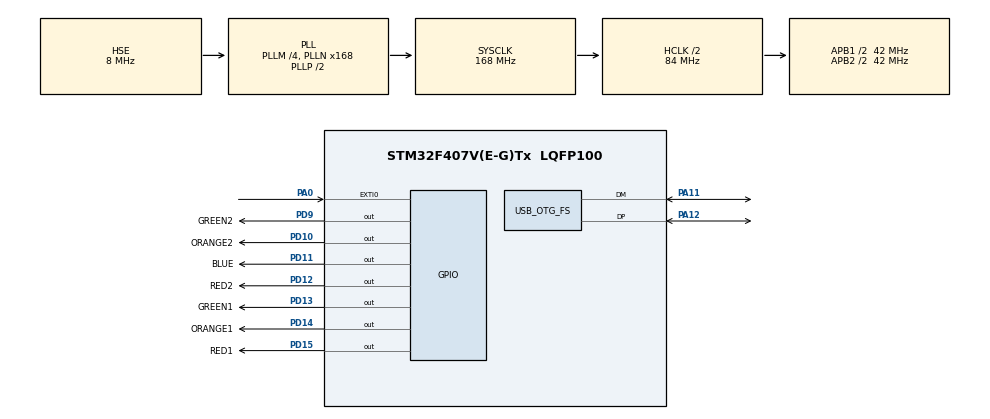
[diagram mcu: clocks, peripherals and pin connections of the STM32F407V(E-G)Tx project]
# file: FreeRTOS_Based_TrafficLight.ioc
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FREERTOS.BinarySemaphores01=myBinarySem01,Dynamic,NULL,Available;myBinarySem02,Dynamic,NULL,Available;myBinarySem03,Dynamic,NULL,Available
FREERTOS.Tasks01=TrafficLight1,0,128,StartTrafficLight1,Default,NULL,Dynamic,NULL,NULL;TrafficLight2,0,128,StartTrafficLight2,Default,NULL,Dynamic,NULL,NULL;pedestrianTask,1,128,StartpedestrianTask,Default,NULL,Dynamic,NULL,NULL
FREERTOS.configUSE_NEWLIB_REENTRANT=1
Mcu.Family=STM32F4
Mcu.Name=STM32F407V(E-G)Tx
Mcu.Package=LQFP100
NVIC.EXTI0_IRQn=true\:5\:0\:false\:false\:true\:true\:true\:true\:true
NVIC.OTG_FS_IRQn=true\:5\:0\:false\:false\:true\:true\:false\:true\:true
NVIC.PriorityGroup=NVIC_PRIORITYGROUP_4
NVIC.TIM1_UP_TIM10_IRQn=true\:15\:0\:false\:false\:true\:false\:false\:true\:true
NVIC.TimeBase=TIM1_UP_TIM10_IRQn
NVIC.TimeBaseIP=TIM1
PA0-WKUP.GPIO_PuPd=GPIO_PULLDOWN
PA0-WKUP.Signal=GPXTI0
PA11.Mode=Device_Only
PA11.Signal=USB_OTG_FS_DM
PA12.Mode=Device_Only
PA12.Signal=USB_OTG_FS_DP
PA13.Mode=Serial_Wire
PA13.Signal=SYS_JTMS-SWDIO
PA14.Mode=Serial_Wire
PA14.Signal=SYS_JTCK-SWCLK
PD10.GPIO_Label=ORANGE2
PD10.Signal=GPIO_Output
PD11.GPIO_Label=BLUE
PD11.Signal=GPIO_Output
PD12.GPIO_Label=RED2
PD12.Signal=GPIO_Output
PD13.GPIO_Label=GREEN1
PD13.Signal=GPIO_Output
PD14.GPIO_Label=ORANGE1
PD14.Signal=GPIO_Output
PD15.GPIO_Label=RED1
PD15.Signal=GPIO_Output
PD9.GPIO_Label=GREEN2
PD9.Signal=GPIO_Output
PH0-OSC_IN.Mode=HSE-External-Oscillator
PH0-OSC_IN.Signal=RCC_OSC_IN
PH1-OSC_OUT.Mode=HSE-External-Oscillator
PH1-OSC_OUT.Signal=RCC_OSC_OUT
ProjectManager.HeapSize=0x200
ProjectManager.StackSize=0x400
ProjectManager.TargetToolchain=STM32CubeIDE
RCC.48MHZClocksFreq_Value=48000000
RCC.AHBCLKDivider=RCC_SYSCLK_DIV2
RCC.AHBFreq_Value=84000000
RCC.APB1CLKDivider=RCC_HCLK_DIV2
RCC.APB1Freq_Value=42000000
RCC.APB1TimFreq_Value=84000000
RCC.APB2CLKDivider=RCC_HCLK_DIV2
RCC.APB2Freq_Value=42000000
RCC.APB2TimFreq_Value=84000000
RCC.CortexFreq_Value=84000000
RCC.HCLKFreq_Value=84000000
RCC.HSE_VALUE=8000000
RCC.HSI_VALUE=16000000
RCC.LSE_VALUE=32768
RCC.PLLM=4
RCC.PLLN=168
RCC.PLLQ=7
RCC.SYSCLKFreq_VALUE=168000000
RCC.SYSCLKSource=RCC_SYSCLKSOURCE_PLLCLK
RCC.VCOOutputFreq_Value=336000000
USB_DEVICE.CLASS_NAME_FS=CDC
USB_DEVICE.VirtualMode-CDC_FS=Cdc
USB_DEVICE.VirtualModeFS=Cdc_FS
USB_OTG_FS.VirtualMode=Device_Only
VP_FREERTOS_VS_CMSIS_V1.Mode=CMSIS_V1
VP_SYS_VS_tim1.Mode=TIM1
VP_USB_DEVICE_VS_USB_DEVICE_CDC_FS.Mode=CDC_FS
board=custom

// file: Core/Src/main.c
/* USER CODE BEGIN Header */
/**
  ******************************************************************************
  * @file           : main.c
  * @brief          : Main program body
  ******************************************************************************
  * @attention
  *
  * Copyright (c) 2024 STMicroelectronics.
  * All rights reserved.
  *
  * This software is licensed under terms that can be found in the LICENSE file
  * in the root directory of this software component.
  * If no LICENSE file comes with this software, it is provided AS-IS.
  *
  ******************************************************************************
  */
/* USER CODE END Header */
#include "main.h"
#include "cmsis_os.h"
#include "usb_device.h"

/* USER CODE BEGIN Includes */

#include "usbd_conf.h"
#include "usbd_cdc_if.h"
#include "usbd_desc.h"
#include "string.h"
#include "stdint.h"

volatile uint8_t control = 0;

/* USER CODE END Includes */

osThreadId TrafficLight1Handle;
osThreadId TrafficLight2Handle;
osThreadId pedestrianTaskHandle;
osSemaphoreId myBinarySem01Handle;
osSemaphoreId myBinarySem02Handle;
osSemaphoreId myBinarySem03Handle;

void SystemClock_Config(void);
static void MX_GPIO_Init(void);
void StartTrafficLight1(void const * argument);
void StartTrafficLight2(void const * argument);
void StartpedestrianTask(void const * argument);

int main(void)
{

  /* MCU Configuration--------------------------------------------------------*/

  /* Reset of all peripherals, Initializes the Flash interface and the Systick. */
  HAL_Init();

  /* Configure the system clock */
  SystemClock_Config();

  /* Initialize all configured peripherals */
  MX_GPIO_Init();

  /* Create the semaphores(s) */
  /* definition and creation of myBinarySem01 */
  osSemaphoreDef(myBinarySem01);
  myBinarySem01Handle = osSemaphoreCreate(osSemaphore(myBinarySem01), 1);

  /* definition and creation of myBinarySem02 */
  osSemaphoreDef(myBinarySem02);
  myBinarySem02Handle = osSemaphoreCreate(osSemaphore(myBinarySem02), 1);

  /* definition and creation of myBinarySem03 */
  osSemaphoreDef(myBinarySem03);
  myBinarySem03Handle = osSemaphoreCreate(osSemaphore(myBinarySem03), 1);

  /* Create the thread(s) */
  /* definition and creation of TrafficLight1 */
  osThreadDef(TrafficLight1, StartTrafficLight1, osPriorityNormal, 0, 128);
  TrafficLight1Handle = osThreadCreate(osThread(TrafficLight1), NULL);

  /* definition and creation of TrafficLight2 */
  osThreadDef(TrafficLight2, StartTrafficLight2, osPriorityNormal, 0, 128);
  TrafficLight2Handle = osThreadCreate(osThread(TrafficLight2), NULL);

  /* definition and creation of pedestrianTask */
  osThreadDef(pedestrianTask, StartpedestrianTask, osPriorityAboveNormal, 0, 128);
  pedestrianTaskHandle = osThreadCreate(osThread(pedestrianTask), NULL);

  /* Start scheduler */
  osKernelStart();

  /* We should never get here as control is now taken by the scheduler */

  /* Infinite loop */
  while (1)
  {

  }
}

void SystemClock_Config(void)
{
  RCC_OscInitTypeDef RCC_OscInitStruct = {0};
  RCC_ClkInitTypeDef RCC_ClkInitStruct = {0};

  /** Configure the main internal regulator output voltage
  */
  __HAL_RCC_PWR_CLK_ENABLE();
  __HAL_PWR_VOLTAGESCALING_CONFIG(PWR_REGULATOR_VOLTAGE_SCALE1);

  /** Initializes the RCC Oscillators according to the specified parameters
  * in the RCC_OscInitTypeDef structure.
  */
  RCC_OscInitStruct.OscillatorType = RCC_OSCILLATORTYPE_HSE;
  RCC_OscInitStruct.HSEState = RCC_HSE_ON;
  RCC_OscInitStruct.PLL.PLLState = RCC_PLL_ON;
  RCC_OscInitStruct.PLL.PLLSource = RCC_PLLSOURCE_HSE;
  RCC_OscInitStruct.PLL.PLLM = 4;
  RCC_OscInitStruct.PLL.PLLN = 168;
  RCC_OscInitStruct.PLL.PLLP = RCC_PLLP_DIV2;
  RCC_OscInitStruct.PLL.PLLQ = 7;
  if (HAL_RCC_OscConfig(&RCC_OscInitStruct) != HAL_OK)
  {
    Error_Handler();
  }

  /** Initializes the CPU, AHB and APB buses clocks
  */
  RCC_ClkInitStruct.ClockType = RCC_CLOCKTYPE_HCLK|RCC_CLOCKTYPE_SYSCLK
                              |RCC_CLOCKTYPE_PCLK1|RCC_CLOCKTYPE_PCLK2;
  RCC_ClkInitStruct.SYSCLKSource = RCC_SYSCLKSOURCE_PLLCLK;
  RCC_ClkInitStruct.AHBCLKDivider = RCC_SYSCLK_DIV2;
  RCC_ClkInitStruct.APB1CLKDivider = RCC_HCLK_DIV2;
  RCC_ClkInitStruct.APB2CLKDivider = RCC_HCLK_DIV2;

  if (HAL_RCC_ClockConfig(&RCC_ClkInitStruct, FLASH_LATENCY_2) != HAL_OK)
  {
    Error_Handler();
  }
}

static void MX_GPIO_Init(void)
{
  GPIO_InitTypeDef GPIO_InitStruct = {0};

  /* GPIO Ports Clock Enable */
  __HAL_RCC_GPIOH_CLK_ENABLE();
  __HAL_RCC_GPIOA_CLK_ENABLE();
  __HAL_RCC_GPIOD_CLK_ENABLE();

  /*Configure GPIO pin Output Level */
  HAL_GPIO_WritePin(GPIOD, GREEN2_Pin|ORANGE2_Pin|BLUE_Pin|RED2_Pin
                          |GREEN1_Pin|ORANGE1_Pin|RED1_Pin, GPIO_PIN_RESET);

  /*Configure GPIO pin : PA0 */
  GPIO_InitStruct.Pin = GPIO_PIN_0;
  GPIO_InitStruct.Mode = GPIO_MODE_IT_RISING;
  GPIO_InitStruct.Pull = GPIO_PULLDOWN;
  HAL_GPIO_Init(GPIOA, &GPIO_InitStruct);

  /*Configure GPIO pins : GREEN2_Pin ORANGE2_Pin BLUE_Pin RED2_Pin
                           GREEN1_Pin ORANGE1_Pin RED1_Pin */
  GPIO_InitStruct.Pin = GREEN2_Pin|ORANGE2_Pin|BLUE_Pin|RED2_Pin
                          |GREEN1_Pin|ORANGE1_Pin|RED1_Pin;
  GPIO_InitStruct.Mode = GPIO_MODE_OUTPUT_PP;
  GPIO_InitStruct.Pull = GPIO_NOPULL;
  GPIO_InitStruct.Speed = GPIO_SPEED_FREQ_LOW;
  HAL_GPIO_Init(GPIOD, &GPIO_InitStruct);

  /* EXTI interrupt init*/
  HAL_NVIC_SetPriority(EXTI0_IRQn, 5, 0);
  HAL_NVIC_EnableIRQ(EXTI0_IRQn);

}

/* USER CODE BEGIN 4 */

void HAL_GPIO_EXTI_Callback(uint16_t GPIO_Pin)
{
	// BaseType_t xHigherPriorityTaskWoken = pdFALSE;

	if (GPIO_Pin == GPIO_PIN_0)
	{
		while(HAL_GPIO_ReadPin(GPIOA,GPIO_PIN_0));

		// xSemaphoreGiveFromISR(myBinarySem02Handle,portMAX_DELAY);

		// portYIELD_FROM_ISR(xHigherPriorityTaskWoken);

		control = 1;
	}
}

/* USER CODE END 4 */

void StartTrafficLight1(void const * argument)
{
  /* init code for USB_DEVICE */
  MX_USB_DEVICE_Init();
  /* USER CODE BEGIN 5 */

	HAL_GPIO_WritePin(GPIOD,GPIO_PIN_15,GPIO_PIN_SET); // Kirmizi 1

  /* Infinite loop */
  for(;;)
  {
	  if(xSemaphoreTake(myBinarySem01Handle,portMAX_DELAY) == pdTRUE)
	  {
		  HAL_GPIO_WritePin(GPIOD,GPIO_PIN_14,GPIO_PIN_SET);   // Turuncu 1
		  HAL_Delay(1000);

		  HAL_GPIO_WritePin(GPIOD,GPIO_PIN_14,GPIO_PIN_RESET);  // Turuncu 1
		  HAL_GPIO_WritePin(GPIOD,GPIO_PIN_15,GPIO_PIN_RESET);  // Kirmizi 1

		  HAL_GPIO_WritePin(GPIOD,GPIO_PIN_13,GPIO_PIN_SET);  //  Yesil 1
		  char *str1 = "1. Trafik isigi yesil yaniyor.\n\n\r";
		  CDC_Transmit_FS((uint8_t *)str1,strlen(str1));

		  HAL_Delay(5000);

		  HAL_GPIO_WritePin(GPIOD,GPIO_PIN_13,GPIO_PIN_RESET); // Yesil 1
		  HAL_GPIO_WritePin(GPIOD,GPIO_PIN_14,GPIO_PIN_SET);   // Turuncu 1

		  HAL_Delay(1000);

		  HAL_GPIO_WritePin(GPIOD,GPIO_PIN_14,GPIO_PIN_RESET);   // Turuncu 1
		  HAL_GPIO_WritePin(GPIOD,GPIO_PIN_15,GPIO_PIN_SET);   // Kirmizi 1
		  char *str2 = "1. Trafik isigi kirmizi yaniyor.\n\n\r";
		  CDC_Transmit_FS((uint8_t *)str2,strlen(str2));

		  HAL_Delay(4000);

		  if(control == 1)
		  {
			  xSemaphoreGive(myBinarySem02Handle);
		  }

		  xSemaphoreGive(myBinarySem01Handle);

	  }

	  vTaskDelay(pdMS_TO_TICKS(1));
  }
  /* USER CODE END 5 */
}

void StartTrafficLight2(void const * argument)
{
  /* USER CODE BEGIN StartTrafficLight2 */

	HAL_GPIO_WritePin(GPIOD,GPIO_PIN_12,GPIO_PIN_SET); // Kirmizi 2
  /* Infinite loop */
  for(;;)
  {
	  if(xSemaphoreTake(myBinarySem01Handle,portMAX_DELAY) == pdTRUE)
	  {
		  HAL_GPIO_WritePin(GPIOD,GPIO_PIN_10,GPIO_PIN_SET);   // Turuncu 2
		  HAL_Delay(1000);

		  HAL_GPIO_WritePin(GPIOD,GPIO_PIN_10,GPIO_PIN_RESET);  // Turuncu 2
		  HAL_GPIO_WritePin(GPIOD,GPIO_PIN_12,GPIO_PIN_RESET);  // Kirmizi 2

		  HAL_GPIO_WritePin(GPIOD,GPIO_PIN_9,GPIO_PIN_SET);  //  Yesil 2
		  char *str1 = "1. Trafik isigi yesil yaniyor.\n\n\r";
		  CDC_Transmit_FS((uint8_t *)str1,strlen(str1));

		  HAL_Delay(5000);

		  HAL_GPIO_WritePin(GPIOD,GPIO_PIN_9,GPIO_PIN_RESET); // Yesil 2
		  HAL_GPIO_WritePin(GPIOD,GPIO_PIN_10,GPIO_PIN_SET);   // Turuncu 2

		  HAL_Delay(1000);

		  HAL_GPIO_WritePin(GPIOD,GPIO_PIN_10,GPIO_PIN_RESET);   // Turuncu 2
		  HAL_GPIO_WritePin(GPIOD,GPIO_PIN_12,GPIO_PIN_SET);   // Kirmizi 2
		  char *str2 = "1. Trafik isigi kirmizi yaniyor.\n\n\r";
		  CDC_Transmit_FS((uint8_t *)str2,strlen(str2));

		  HAL_Delay(4000);

		  if(control == 1)
		  {
			  xSemaphoreGive(myBinarySem02Handle);
		  }

		  xSemaphoreGive(myBinarySem01Handle);
	  }

	  vTaskDelay(pdMS_TO_TICKS(1));
  }
  /* USER CODE END StartTrafficLight2 */
}

void StartpedestrianTask(void const * argument)
{
  /* USER CODE BEGIN StartpedestrianTask */
  /* Infinite loop */
  for(;;)
  {
	  if(xSemaphoreTake(myBinarySem02Handle,portMAX_DELAY) == pdTRUE)
	  {
		  HAL_GPIO_WritePin(GPIOD,GPIO_PIN_13,GPIO_PIN_RESET); // Yesil 1
		  HAL_GPIO_WritePin(GPIOD,GPIO_PIN_14,GPIO_PIN_RESET); // Turuncu 1
		  HAL_GPIO_WritePin(GPIOD,GPIO_PIN_15,GPIO_PIN_SET);   // Kirmizi 1

		  HAL_GPIO_WritePin(GPIOD,GPIO_PIN_9,GPIO_PIN_RESET);  // Yesil 2
		  HAL_GPIO_WritePin(GPIOD,GPIO_PIN_10,GPIO_PIN_RESET); // Turuncu 2
		  HAL_GPIO_WritePin(GPIOD,GPIO_PIN_12,GPIO_PIN_SET);   // Kirmizi 2

		  HAL_Delay(500);

		  vTaskSuspend(TrafficLight1Handle);
		  vTaskSuspend(TrafficLight2Handle);

		  char *str1 = "1. ve 2. trafik isigi kirmizi yaniyor.\n\n\r";
		  CDC_Transmit_FS((uint8_t *)str1, strlen(str1));
		  // HAL_Delay(2000);

		  char *str2 = "Yayalar geciyor.\n\n\r";
		  CDC_Transmit_FS((uint8_t *)str2, strlen(str2));
		  HAL_GPIO_WritePin(GPIOD,GPIO_PIN_11,GPIO_PIN_SET);

		  HAL_Delay(4000);

		  for(int i = 0;i < 5;i++)
		  {
			  HAL_GPIO_WritePin(GPIOD,GPIO_PIN_11,GPIO_PIN_RESET);
			  HAL_Delay(250);
			  HAL_GPIO_WritePin(GPIOD,GPIO_PIN_11,GPIO_PIN_SET);
			  HAL_Delay(250);
		  }

		  HAL_GPIO_WritePin(GPIOD,GPIO_PIN_11,GPIO_PIN_RESET);

		  char *str3 = "Yayalar gecti.\n\n\r";
		  CDC_Transmit_FS((uint8_t *)str3, strlen(str3));
		  HAL_Delay(2000);

		  control = 0;

		  vTaskResume(TrafficLight1Handle);
		  vTaskResume(TrafficLight2Handle);

	  }
	  vTaskDelay(pdMS_TO_TICKS(1));
  }
  /* USER CODE END StartpedestrianTask */
}

void HAL_TIM_PeriodElapsedCallback(TIM_HandleTypeDef *htim)
{
  if (htim->Instance == TIM1) {
    HAL_IncTick();
  }
}

void Error_Handler(void)
{
  __disable_irq();
  while (1)
  {
  }
}
